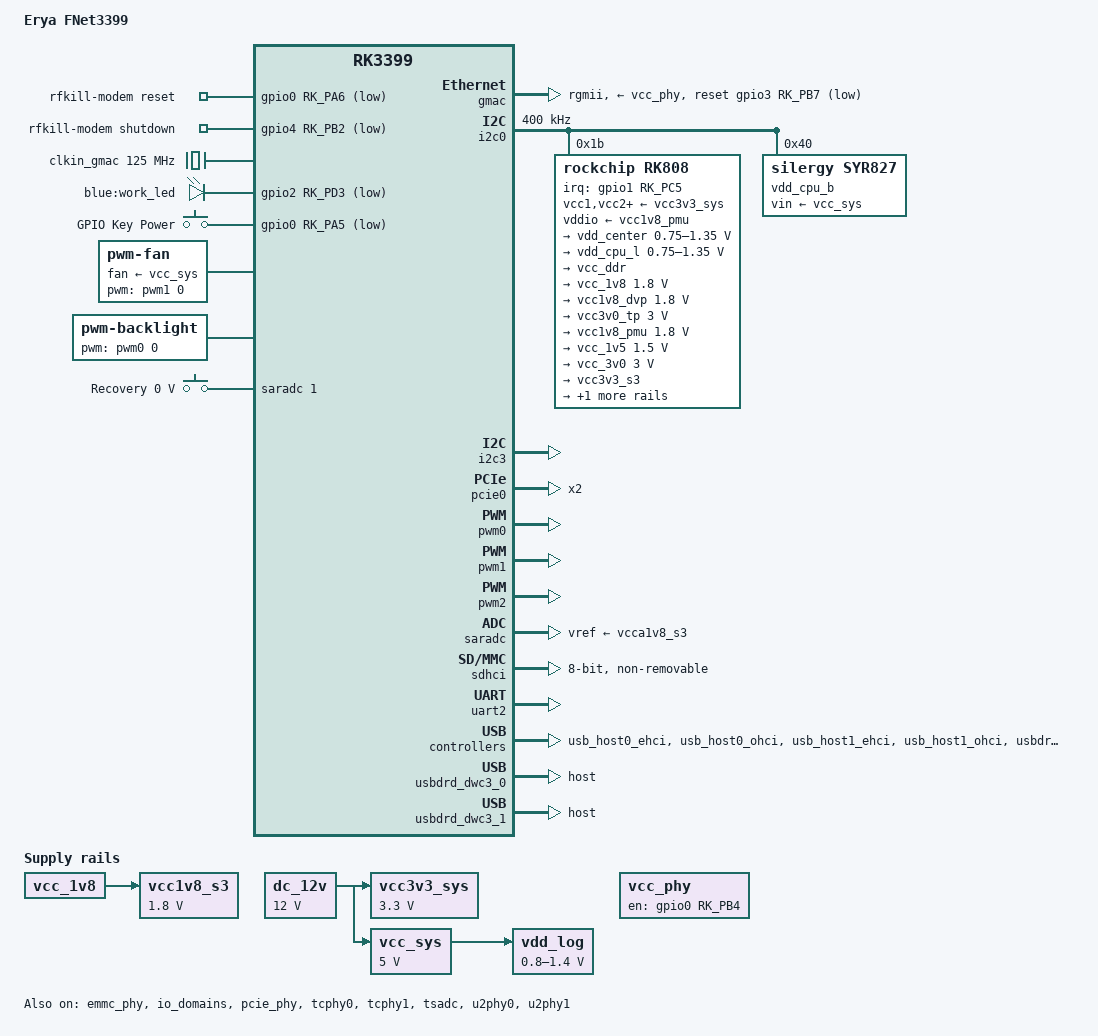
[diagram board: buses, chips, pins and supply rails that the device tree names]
// SPDX-License-Identifier: (GPL-2.0+ OR MIT)

/dts-v1/;

#include <dt-bindings/input/input.h>
#include <dt-bindings/pwm/pwm.h>
#include "rk3399.dtsi"

/ {
	model = "Erya FNet3399";
	compatible = "erya,fnet-3399", "rockchip,rk3399";

	aliases {
		ethernet0 = &gmac;
		mmc0 = &sdhci;
	};

	chosen {
		stdout-path = "serial2:1500000n8";
	};

	rfkill-modem {
		compatible = "rfkill-gpio";
		label = "rfkill-modem";
		radio-type = "wwan";
		reset-gpios = <&gpio0 RK_PA6 GPIO_ACTIVE_LOW>;
		shutdown-gpios = <&gpio4 RK_PB2 GPIO_ACTIVE_LOW>;
	};

	clkin_gmac: external-gmac-clock {
		compatible = "fixed-clock";
		clock-frequency = <125000000>;
		clock-output-names = "clkin_gmac";
		#clock-cells = <0>;
	};

	dc_12v: dc-12v {
		compatible = "regulator-fixed";
		regulator-name = "dc_12v";
		regulator-always-on;
		regulator-boot-on;
		regulator-min-microvolt = <12000000>;
		regulator-max-microvolt = <12000000>;
	};

	/* switched by pmic_sleep */
	vcc1v8_s3: vcca1v8_s3: vcc1v8-s3 {
		compatible = "regulator-fixed";
		regulator-name = "vcc1v8_s3";
		regulator-always-on;
		regulator-boot-on;
		regulator-min-microvolt = <1800000>;
		regulator-max-microvolt = <1800000>;
		vin-supply = <&vcc_1v8>;
	};

	vcc3v3_sys: vcc3v3-sys {
		compatible = "regulator-fixed";
		regulator-name = "vcc3v3_sys";
		regulator-always-on;
		regulator-boot-on;
		regulator-min-microvolt = <3300000>;
		regulator-max-microvolt = <3300000>;
		vin-supply = <&dc_12v>;
	};

	vcc_sys: vcc-sys {
		compatible = "regulator-fixed";
		regulator-name = "vcc_sys";
		regulator-always-on;
		regulator-boot-on;
		regulator-min-microvolt = <5000000>;
		regulator-max-microvolt = <5000000>;
		vin-supply = <&dc_12v>;
	};

	vcc_phy: vcc-phy-regulator {
		compatible = "regulator-fixed";
		enable-active-high;
		gpio = <&gpio0 RK_PB4 GPIO_ACTIVE_HIGH>;
		pinctrl-names = "default";
		pinctrl-0 = <&vcc_phy_h>;
		regulator-name = "vcc_phy";
		regulator-always-on;
		regulator-boot-on;
	};

	vdd_log: vdd-log {
		compatible = "pwm-regulator";
		pwms = <&pwm2 0 25000 1>;
		regulator-name = "vdd_log";
		regulator-always-on;
		regulator-boot-on;
		regulator-min-microvolt = <800000>;
		regulator-max-microvolt = <1400000>;
		vin-supply = <&vcc_sys>;
	};

	gpio-leds {
		compatible = "gpio-leds";
		pinctrl-names = "default";
		pinctrl-0 = <&user_led2>;

		user_led2 {
			label = "blue:work_led";
			gpios = <&gpio2 RK_PD3 GPIO_ACTIVE_LOW>;
			linux,default-trigger = "heartbeat";
		};
	};

	gpio-keys {
		compatible = "gpio-keys";
		autorepeat;
		pinctrl-names = "default";
		pinctrl-0 = <&power_key>;

		key-power {
			debounce-interval = <100>;
			gpios = <&gpio0 RK_PA5 GPIO_ACTIVE_LOW>;
			label = "GPIO Key Power";
			linux,code = <KEY_POWER>;
			wakeup-source;
		};
	};

	fan: pwm-fan {
		compatible = "pwm-fan";
		#cooling-cells = <2>;
		fan-supply = <&vcc_sys>;
		pwms = <&pwm1 0 10000 0>;
		rockchip,initial-pwm = <0>;
	};

	backlight: backlight {
		compatible = "pwm-backlight";
		brightness-levels = <0 36 72 108 144 180 216 255>;
		default-brightness-level = <4>;
		pwms = <&pwm0 0 1000000 0>;
	};

	adc-keys {
		compatible = "adc-keys";
		io-channels = <&saradc 1>;
		io-channel-names = "buttons";
		keyup-threshold-microvolt = <1750000>;
		poll-interval = <100>;

		recovery {
			label = "Recovery";
			linux,code = <KEY_VENDOR>;
			press-threshold-microvolt = <0>;
		};
	};
};

&cpu_l0 {
	cpu-supply = <&vdd_cpu_l>;
};

&cpu_l1 {
	cpu-supply = <&vdd_cpu_l>;
};

&cpu_l2 {
	cpu-supply = <&vdd_cpu_l>;
};

&cpu_l3 {
	cpu-supply = <&vdd_cpu_l>;
};

&cpu_b0 {
	cpu-supply = <&vdd_cpu_b>;
};

&cpu_b1 {
	cpu-supply = <&vdd_cpu_b>;
};

&emmc_phy {
	status = "okay";
};

&gmac {
	assigned-clocks = <&cru SCLK_RMII_SRC>;
	assigned-clock-parents = <&clkin_gmac>;
	clock_in_out = "input";
	phy-supply = <&vcc_phy>;
	phy-mode = "rgmii";
	pinctrl-names = "default";
	pinctrl-0 = <&rgmii_pins>;
	snps,reset-gpio = <&gpio3 RK_PB7 GPIO_ACTIVE_LOW>;
	snps,reset-active-low;
	snps,reset-delays-us = <0 10000 50000>;
	tx_delay = <0x28>;
	rx_delay = <0x11>;
	status = "okay";
};

&i2c0 {
	clock-frequency = <400000>;
	i2c-scl-rising-time-ns = <168>;
	i2c-scl-falling-time-ns = <4>;
	status = "okay";

	rk808: pmic@1b {
		compatible = "rockchip,rk808";
		reg = <0x1b>;
		interrupt-parent = <&gpio1>;
		interrupts = <RK_PC5 IRQ_TYPE_LEVEL_LOW>;
		#clock-cells = <1>;
		clock-output-names = "xin32k", "rk808-clkout2";
		pinctrl-names = "default";
		pinctrl-0 = <&pmic_int_l &pmic_dvs2>;
		rockchip,system-power-controller;
		wakeup-source;

		vcc1-supply = <&vcc3v3_sys>;
		vcc2-supply = <&vcc3v3_sys>;
		vcc3-supply = <&vcc3v3_sys>;
		vcc4-supply = <&vcc3v3_sys>;
		vcc6-supply = <&vcc3v3_sys>;
		vcc7-supply = <&vcc3v3_sys>;
		vcc8-supply = <&vcc3v3_sys>;
		vcc9-supply = <&vcc3v3_sys>;
		vcc10-supply = <&vcc3v3_sys>;
		vcc11-supply = <&vcc3v3_sys>;
		vcc12-supply = <&vcc3v3_sys>;
		vddio-supply = <&vcc1v8_pmu>;

		regulators {
			vdd_center: DCDC_REG1 {
				regulator-name = "vdd_center";
				regulator-always-on;
				regulator-boot-on;
				regulator-min-microvolt = <750000>;
				regulator-max-microvolt = <1350000>;
				regulator-ramp-delay = <6001>;
				regulator-state-mem {
					regulator-off-in-suspend;
				};
			};

			vdd_cpu_l: DCDC_REG2 {
				regulator-name = "vdd_cpu_l";
				regulator-always-on;
				regulator-boot-on;
				regulator-min-microvolt = <750000>;
				regulator-max-microvolt = <1350000>;
				regulator-ramp-delay = <6001>;
				regulator-state-mem {
					regulator-off-in-suspend;
				};
			};

			vcc_ddr: DCDC_REG3 {
				regulator-name = "vcc_ddr";
				regulator-always-on;
				regulator-boot-on;
				regulator-state-mem {
					regulator-on-in-suspend;
				};
			};

			vcc_1v8: DCDC_REG4 {
				regulator-name = "vcc_1v8";
				regulator-always-on;
				regulator-boot-on;
				regulator-min-microvolt = <1800000>;
				regulator-max-microvolt = <1800000>;
				regulator-state-mem {
					regulator-on-in-suspend;
					regulator-suspend-microvolt = <1800000>;
				};
			};

			vcc1v8_dvp: LDO_REG1 {
				regulator-name = "vcc1v8_dvp";
				regulator-always-on;
				regulator-boot-on;
				regulator-min-microvolt = <1800000>;
				regulator-max-microvolt = <1800000>;
				regulator-state-mem {
					regulator-off-in-suspend;
				};
			};

			vcc3v0_tp: LDO_REG2 {
				regulator-always-on;
				regulator-boot-on;
				regulator-min-microvolt = <3000000>;
				regulator-max-microvolt = <3000000>;
				regulator-name = "vcc3v0_tp";
				regulator-state-mem {
					regulator-off-in-suspend;
				};
			};

			vcc1v8_pmu: LDO_REG3 {
				regulator-name = "vcc1v8_pmu";
				regulator-always-on;
				regulator-boot-on;
				regulator-min-microvolt = <1800000>;
				regulator-max-microvolt = <1800000>;
				regulator-state-mem {
					regulator-on-in-suspend;
					regulator-suspend-microvolt = <1800000>;
				};
			};

			vcc_1v5: LDO_REG6 {
				regulator-name = "vcc_1v5";
				regulator-always-on;
				regulator-boot-on;
				regulator-min-microvolt = <1500000>;
				regulator-max-microvolt = <1500000>;
				regulator-state-mem {
					regulator-on-in-suspend;
					regulator-suspend-microvolt = <1500000>;
				};
			};

			vcc_3v0: LDO_REG8 {
				regulator-name = "vcc_3v0";
				regulator-always-on;
				regulator-boot-on;
				regulator-min-microvolt = <3000000>;
				regulator-max-microvolt = <3000000>;
				regulator-state-mem {
					regulator-on-in-suspend;
					regulator-suspend-microvolt = <3000000>;
				};
			};

			vcc3v3_s3: SWITCH_REG1 {
				regulator-name = "vcc3v3_s3";
				regulator-always-on;
				regulator-boot-on;
				regulator-state-mem {
					regulator-off-in-suspend;
				};
			};

			vcc3v3_s0: SWITCH_REG2 {
				regulator-name = "vcc3v3_s0";
				regulator-always-on;
				regulator-boot-on;
				regulator-state-mem {
					regulator-off-in-suspend;
				};
			};
		};
	};

	vdd_cpu_b: regulator@40 {
		compatible = "silergy,syr827";
		reg = <0x40>;
		fcs,suspend-voltage-selector = <1>;
		pinctrl-names = "default";
		pinctrl-0 = <&cpu_b_sleep>;
		regulator-name = "vdd_cpu_b";
		regulator-min-microvolt = <712500>;
		regulator-max-microvolt = <1500000>;
		regulator-ramp-delay = <1000>;
		regulator-always-on;
		regulator-boot-on;
		vin-supply = <&vcc_sys>;

		regulator-state-mem {
			regulator-off-in-suspend;
		};
	};
};

&i2c3 {
	i2c-scl-rising-time-ns = <450>;
	i2c-scl-falling-time-ns = <15>;
	status = "okay";
};

&io_domains {
	status = "okay";
	gpio1830-supply = <&vcc_3v0>;
};

&pmu_io_domains {
	status = "okay";
	pmu1830-supply = <&vcc_1v8>;
};

&pcie_phy {
	status = "okay";
};

&pcie0 {
	ep-gpios = <&gpio4 RK_PD3 GPIO_ACTIVE_HIGH>;
	max-link-speed = <2>;
	num-lanes = <2>;
	pinctrl-names = "default";
	pinctrl-0 = <&pcie_clkreqn_cpm>;
	status = "okay";
};

&pinctrl {
	pmic {
		cpu_b_sleep: cpu-b-sleep {
			rockchip,pins = <1 RK_PC1 RK_FUNC_GPIO &pcfg_pull_down>;
		};

		pmic_int_l: pmic-int-l {
			rockchip,pins = <1 RK_PB2 RK_FUNC_GPIO &pcfg_pull_up>;
		};

		pmic_dvs2: pmic-dvs2 {
			rockchip,pins = <1 RK_PC2 RK_FUNC_GPIO &pcfg_pull_down>;
		};
	};

	gmac {
		vcc_phy_h: vcc-phy-h {
			rockchip,pins = <0 RK_PB4 RK_FUNC_GPIO &pcfg_pull_up>;
		};
	};

	leds {
		user_led2: user_led2 {
			rockchip,pins = <2 RK_PD3 RK_FUNC_GPIO &pcfg_pull_none>;
		};
	};

	buttons {
		power_key: power_key {
			rockchip,pins = <0 RK_PA5 RK_FUNC_GPIO &pcfg_pull_up>;
		};
	};
};

&pwm0 {
	status = "okay";
};

&pwm1 {
	status = "okay";
};

&pwm2 {
	status = "okay";
};

&saradc {
	vref-supply = <&vcca1v8_s3>;
	status = "okay";
};

&sdhci {
	bus-width = <8>;
	mmc-hs400-1_8v;
	mmc-hs400-enhanced-strobe;
	keep-power-in-suspend;
	non-removable;
	status = "okay";
};

&spi2 {
	status = "disabled";

	panel@0 {
		compatible = "sitronix,st7735r";
		reg = <0>;
		rgb;
		width = <80>;
		height = <160>;
		fps = <30>;
		buswidth = <8>;
		rotate = <270>;
		backlight = <&backlight>;
		dc-gpios = <&gpio4 RK_PD5 GPIO_ACTIVE_HIGH>;
		reset-gpios = <&gpio4 RK_PD1 GPIO_ACTIVE_LOW>;
		led-gpios = <&gpio4 RK_PC2 GPIO_ACTIVE_HIGH>;
		spi-max-frequency = <32000000>;
		debug = <0>;
		spi-cpol;
		spi-cpha;
	};
};

&tcphy0 {
	status = "okay";
};

&tcphy1 {
	status = "okay";
};

&tsadc {
	/* tshut mode 0:CRU 1:GPIO */
	rockchip,hw-tshut-mode = <1>;
	/* tshut polarity 0:LOW 1:HIGH */
	rockchip,hw-tshut-polarity = <1>;
	status = "okay";
};

&u2phy0 {
	status = "okay";

	u2phy0_otg: otg-port {
		status = "okay";
	};

	u2phy0_host: host-port {
		status = "okay";
	};
};

&u2phy1 {
	status = "okay";

	u2phy1_otg: otg-port {
		status = "okay";
	};

	u2phy1_host: host-port {
		status = "okay";
	};
};

&uart2 {
	status = "okay";
};

&usb_host0_ehci {
	status = "okay";
};

&usb_host0_ohci {
	status = "okay";
};

&usb_host1_ehci {
	status = "okay";
};

&usb_host1_ohci {
	status = "okay";
};

&usbdrd3_0 {
	status = "okay";
};

&usbdrd_dwc3_0 {
	status = "okay";
	dr_mode = "host";
};

&usbdrd3_1 {
	status = "okay";
};

&usbdrd_dwc3_1 {
	status = "okay";
	dr_mode = "host";
};
